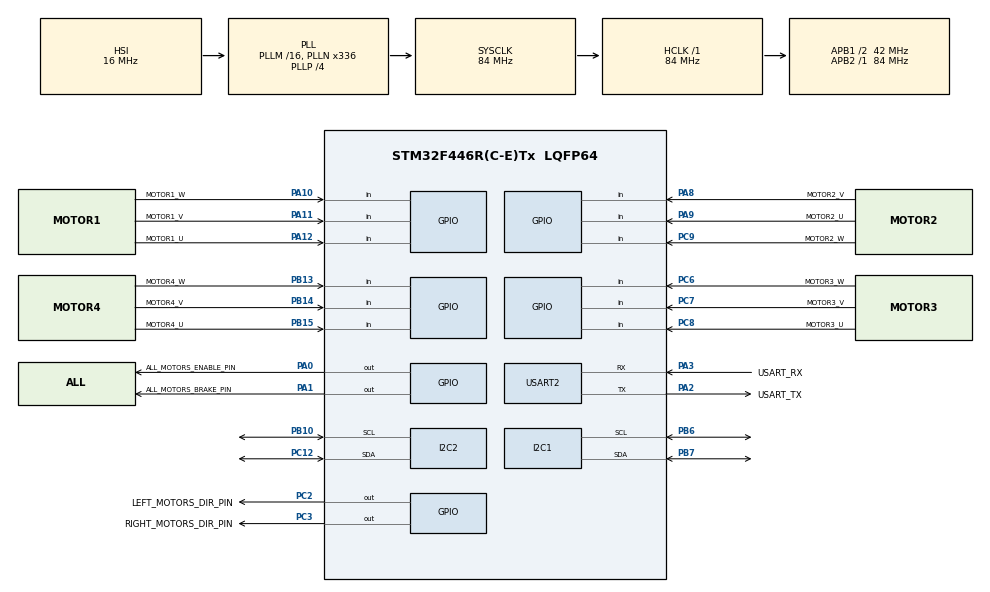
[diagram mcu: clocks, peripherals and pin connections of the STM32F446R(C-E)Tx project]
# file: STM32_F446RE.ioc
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I2C1.OwnAddress=0x12
Mcu.Family=STM32F4
Mcu.Name=STM32F446R(C-E)Tx
Mcu.Package=LQFP64
NVIC.I2C1_ER_IRQn=true\:0\:0\:false\:false\:true\:true\:true\:true
NVIC.I2C1_EV_IRQn=true\:0\:0\:false\:false\:true\:true\:true\:true
NVIC.PriorityGroup=NVIC_PRIORITYGROUP_3
NVIC.TIM3_IRQn=true\:1\:1\:true\:false\:true\:true\:true\:true
PA0-WKUP.GPIO_Label=ALL_MOTORS_ENABLE_PIN
PA0-WKUP.PinState=GPIO_PIN_SET
PA0-WKUP.Signal=GPIO_Output
PA1.GPIO_Label=ALL_MOTORS_BRAKE_PIN
PA1.PinState=GPIO_PIN_SET
PA1.Signal=GPIO_Output
PA10.GPIO_Label=MOTOR1_W
PA10.Signal=GPIO_Input
PA11.GPIO_Label=MOTOR1_V
PA11.Signal=GPIO_Input
PA12.GPIO_Label=MOTOR1_U
PA12.Signal=GPIO_Input
PA13.GPIO_Label=TMS
PA13.Mode=Serial_Wire
PA13.Signal=SYS_JTMS-SWDIO
PA14.GPIO_Label=TCK
PA14.Mode=Serial_Wire
PA14.Signal=SYS_JTCK-SWCLK
PA2.GPIO_Label=USART_TX
PA2.Mode=Asynchronous
PA2.Signal=USART2_TX
PA3.GPIO_Label=USART_RX
PA3.Mode=Asynchronous
PA3.Signal=USART2_RX
PA8.GPIO_Label=MOTOR2_V
PA8.Signal=GPIO_Input
PA9.GPIO_Label=MOTOR2_U
PA9.Signal=GPIO_Input
PB10.GPIO_Pu=GPIO_PULLUP
PB10.Mode=I2C
PB10.Signal=I2C2_SCL
PB13.GPIO_Label=MOTOR4_W
PB13.Signal=GPIO_Input
PB14.GPIO_Label=MOTOR4_V
PB14.Signal=GPIO_Input
PB15.GPIO_Label=MOTOR4_U
PB15.Signal=GPIO_Input
PB3.GPIO_Label=SWO
PB3.Signal=SYS_JTDO-SWO
PB6.GPIO_Pu=GPIO_PULLUP
PB6.Mode=I2C
PB6.Signal=I2C1_SCL
PB7.GPIO_Pu=GPIO_PULLUP
PB7.Mode=I2C
PB7.Signal=I2C1_SDA
PC12.GPIO_Pu=GPIO_PULLUP
PC12.Mode=I2C
PC12.Signal=I2C2_SDA
PC14-OSC32_IN.Mode=LSE-External-Oscillator
PC14-OSC32_IN.Signal=RCC_OSC32_IN
PC15-OSC32_OUT.Mode=LSE-External-Oscillator
PC15-OSC32_OUT.Signal=RCC_OSC32_OUT
PC2.GPIO_Label=LEFT_MOTORS_DIR_PIN
PC2.Signal=GPIO_Output
PC3.GPIO_Label=RIGHT_MOTORS_DIR_PIN
PC3.Signal=GPIO_Output
PC6.GPIO_Label=MOTOR3_W
PC6.Signal=GPIO_Input
PC7.GPIO_Label=MOTOR3_V
PC7.Signal=GPIO_Input
PC8.GPIO_Label=MOTOR3_U
PC8.Signal=GPIO_Input
PC9.GPIO_Label=MOTOR2_W
PC9.Signal=GPIO_Input
PH0-OSC_IN.Mode=HSE-External-Oscillator
PH0-OSC_IN.Signal=RCC_OSC_IN
PH1-OSC_OUT.Mode=HSE-External-Oscillator
PH1-OSC_OUT.Signal=RCC_OSC_OUT
ProjectManager.HeapSize=0x200
ProjectManager.StackSize=0x400
ProjectManager.TargetToolchain=STM32CubeIDE
RCC.48MHZClocksFreq_Value=84000000
RCC.AHBFreq_Value=84000000
RCC.APB1CLKDivider=RCC_HCLK_DIV2
RCC.APB1Freq_Value=42000000
RCC.APB1TimFreq_Value=84000000
RCC.APB2Freq_Value=84000000
RCC.APB2TimFreq_Value=84000000
RCC.CortexFreq_Value=84000000
RCC.FLatency-AdvancedSettings=FLASH_LATENCY_2
RCC.HCLKFreq_Value=84000000
RCC.HSE_VALUE=8000000
RCC.HSI_VALUE=16000000
RCC.PLLN=336
RCC.PLLP=RCC_PLLP_DIV4
RCC.SYSCLKFreq_VALUE=84000000
RCC.SYSCLKSource=RCC_SYSCLKSOURCE_PLLCLK
RCC.USBFreq_Value=168000000
RCC.VCOOutputFreq_Value=336000000
TIM3.Prescaler=0
USART2.VirtualMode=VM_ASYNC
VP_TIM1_VS_ClockSourceINT.Mode=Internal
VP_TIM3_VS_ClockSourceINT.Mode=Internal
board=NUCLEO-F446RE

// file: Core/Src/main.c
/* USER CODE BEGIN Header */
/**
 ******************************************************************************
 * @file           : main.c
 * @brief          : Main program body
 ******************************************************************************
 * @attention
 *
 * Copyright (c) 2024 STMicroelectronics.
 * All rights reserved.
 *
 * This software is licensed under terms that can be found in the LICENSE file
 * in the root directory of this software component.
 * If no LICENSE file comes with this software, it is provided AS-IS.
 *
 ******************************************************************************
 */
/* USER CODE END Header */
#include "main.h"

/* USER CODE BEGIN Includes */
#include "Motor.h"
#include "I2C_Controller.h"
#include <string.h>
#include "Motor_Controller.h"
/* USER CODE END Includes */

I2C_HandleTypeDef hi2c1;
I2C_HandleTypeDef hi2c2;

TIM_HandleTypeDef htim1;
TIM_HandleTypeDef htim3;

UART_HandleTypeDef huart2;

/* USER CODE BEGIN PV */
Motor_Handle motor_handle = { 0 };
I2C_Handle i2c_handle = { 0 };
GPIO_Pin left_direction_pin = { 0 };
GPIO_Pin right_direction_pin = { 0 };
GPIO_Pin motor_brake_pin = { 0 };
GPIO_Pin motor_enable_pin = { 0 };
I2C_Motor_Command command_handle = { .data = { 0 }, .current_command = NO_COMMAND, .next_command = NO_COMMAND };

PID_Parameters f_left_motor_pos_pid_params  = { .kd = 0.0, .ki = 0.6, .kp = 1.75, .min = 0, .max = 60, .dac_default =  682};
PID_Parameters f_right_motor_pos_pid_params = { .kd = 0.0, .ki = 0.6, .kp = 1.75, .min = 0, .max = 60, .dac_default =  674};
PID_Parameters b_left_motor_pos_pid_params  = { .kd = 0.0, .ki = 0.6, .kp = 1.75, .min = 0, .max = 60, .dac_default =  679};
PID_Parameters b_right_motor_pos_pid_params = { .kd = 0.0, .ki = 0.6, .kp = 1.75, .min = 0, .max = 60, .dac_default =  682};

PID_Parameters pid_parameters_velocity = { .kd = 0.001, .ki = 2, .kp = 0.2, .min = 0, .max = 60, .dac_default =  682};

volatile bool motor_ready = false;

/* USER CODE END PV */

void SystemClock_Config(void);
static void MX_GPIO_Init(void);
static void MX_USART2_UART_Init(void);
static void MX_TIM1_Init(void);
static void MX_I2C1_Init(void);
static void MX_TIM3_Init(void);
static void MX_I2C2_Init(void);

/* USER CODE BEGIN 0 */

void HAL_I2C_ListenCpltCallback(I2C_HandleTypeDef *hi2c)
{
	I2C_ListenCpltCallback(&i2c_handle, hi2c);
}
void HAL_I2C_ErrorCallback(I2C_HandleTypeDef *hi2c)
{
	I2C_ErrorCallback(&i2c_handle, hi2c);
}
void HAL_I2C_AddrCallback(I2C_HandleTypeDef *hi2c, uint8_t TransferDirection,
		uint16_t AddrMatchCode)
{
	I2C_AddrCallback(&i2c_handle, hi2c, TransferDirection, AddrMatchCode);
}
void HAL_I2C_SlaveRxCpltCallback(I2C_HandleTypeDef *hi2c)
{
	I2C_SlaveRxCpltCallback(&motor_handle, &i2c_handle, &command_handle, hi2c);
}
void HAL_I2C_SlaveTxCpltCallback(I2C_HandleTypeDef *hi2c)
{
	I2C_SlaveTxCpltCallback(&i2c_handle, hi2c);
}

void HAL_TIM_PeriodElapsedCallback(TIM_HandleTypeDef *htim)
{
	if(motor_ready)
	{
        Update_Motor_Period_Elapsed(&motor_handle.motors[0], htim);
        Update_Motor_Period_Elapsed(&motor_handle.motors[1], htim);
        Update_Motor_Period_Elapsed(&motor_handle.motors[2], htim);
        Update_Motor_Period_Elapsed(&motor_handle.motors[3], htim);
	}
}

void Get_Command_Data(uint8_t *data, const uint8_t buffer_size)
{
	if(sizeof(int8_t) * 2 + sizeof(int32_t) * 2 > buffer_size)
		Error_Handler();
	const int32_t current_command = command_handle.current_command;
	const int32_t next_command = command_handle.next_command;

	data[0] = MOTOR_CURRENT_STATE;
	memcpy(&data[1], &current_command, sizeof(int32_t));
	data[5] = MOTOR_NEXT_STATE;
	memcpy(&data[6], &next_command, sizeof(int32_t));
}

void Get_Motor_State(I2C_Read_Message *read_message)
{
	uint8_t offset = 0;
	for(uint8_t i = 0; i < NUM_MOTORS ; i++)
		offset += Get_Motor_Data(&motor_handle.motors[i],
				read_message->message + offset, I2C_MESSAGE_DATA_SIZE - offset,
				i);

	Get_Command_Data(read_message->message + offset,
			I2C_MESSAGE_DATA_SIZE - offset);
	read_message->crc = I2C_Compute_CRC(read_message->message,
			I2C_MESSAGE_DATA_SIZE);
}

void Update_I2C_Read_State()
{
	I2C_Read_Message next_message =
	{ 0 };
	Get_Motor_State(&next_message);

	while(i2c_handle.next_read_message.in_use == true)
	{
	}

	i2c_handle.next_read_message.in_use = true;
	memcpy(i2c_handle.next_read_message.message, next_message.message,
	I2C_MESSAGE_SIZE);
	i2c_handle.next_read_message.updated = true;
	i2c_handle.next_read_message.in_use = false;
}

void Update_Motors(Motor_Handle *handle, I2C_Motor_Command *motor_command)
{
	switch(motor_command->current_command)
	{
	case FORWARD_POSITION_COMMAND:
		Run_Forward_Position_Command(handle, motor_command);
		break;
	case BACKWARDS_POSITION_COMMAND:
		Run_Backward_Position_Command(handle, motor_command);
		break;
	case LEFT_TURN_COMMAND:
		// haven't implemented
		break;
	case RIGHT_TURN_COMMAND:
		// haven't implemented
		break;
	case STOP_COMMAND:
		Run_Stop_Command(handle, motor_command);
		break;
	default:
		break;

	};
}

void Update_Next_Motor_Command(I2C_Motor_Command *motor_command)
{
	const float target = *(float*)motor_command->data;

	switch(motor_command->next_command)
	{
	case FORWARD_POSITION_COMMAND:
	case BACKWARDS_POSITION_COMMAND:
		Set_Motor_Command(&motor_handle.front_left_motor, &motor_handle.front_right_motor, false, target);
		Set_Motor_Command(&motor_handle.front_right_motor, &motor_handle.front_left_motor, true, target);
		Set_Motor_Command(&motor_handle.back_left_motor, &motor_handle.back_right_motor, false, target);
		Set_Motor_Command(&motor_handle.back_right_motor, &motor_handle.back_left_motor, true, target);
		break;
	case LEFT_TURN_COMMAND:
	case RIGHT_TURN_COMMAND:    // fix me
		Set_Motor_Command(&motor_handle.front_left_motor, &motor_handle.back_left_motor, false, target);
		Set_Motor_Command(&motor_handle.back_left_motor, &motor_handle.front_left_motor, true, target);
		Set_Motor_Command(&motor_handle.front_right_motor, &motor_handle.back_right_motor, false, target);
		Set_Motor_Command(&motor_handle.back_right_motor, &motor_handle.front_right_motor, true, target);
		break;
	case STOP_COMMAND:
		break;
	default:
		break;
	}
	motor_command->current_command = motor_command->next_command;
	motor_command->next_command = NO_COMMAND;
}

/// @brief 1 == front_pos_sync, 2 == back_pos_sync, 3 == left_pos_sync, 4 == right_pos_sync, 5 sync_all_pos, 6 == front_velo_sync, 7 = back_velo_sync, 8 == left_velo_sync, 9 == right_velo_sync, 10 == sync_all_velo
/// @param command To run
/// @param motor_command Pointer to I2c_Motor_Command structure
void Run_Motor_Command_Calibrate(const int32_t command, I2C_Motor_Command *motor_command)
{
	switch(command)
	{
	case 1:
		Run_Front_Position_Sync(&motor_handle, motor_command);
		break;
	case 2:
		Run_Back_Position_Sync(&motor_handle, motor_command);
		break;
	case 3:
		Run_Left_Position_Sync(&motor_handle, motor_command);
		break;
	case 4:
		Run_Right_Position_Sync(&motor_handle, motor_command);
		break;
	case 5:
		Run_Sync_All_Position(&motor_handle, motor_command);
		break;
	case 6:
		Run_Front_Velocity_Sync(&motor_handle, motor_command);
		break;
	case 7:
		Run_Back_Velocity_Sync(&motor_handle, motor_command);
		break;
	case 8:
		Run_Left_Velocity_Sync(&motor_handle, motor_command);
		break;
	case 9:
		Run_Right_Velocity_Sync(&motor_handle, motor_command);
		break;
	case 10:
		Run_Sync_All_Velocity(&motor_handle, motor_command);
		break;
	default:
		break;
	}
}

#define CALIBRATE_MODE 1

void Init_Motor_Controller()
{
    GPIO_Output_Init(&left_direction_pin, LEFT_MOTORS_DIR_PIN_GPIO_Port, LEFT_MOTORS_DIR_PIN_Pin, GPIO_PIN_RESET);
	GPIO_Output_Init(&right_direction_pin, RIGHT_MOTORS_DIR_PIN_GPIO_Port, RIGHT_MOTORS_DIR_PIN_Pin, GPIO_PIN_RESET);
	GPIO_Output_Init(&motor_brake_pin, ALL_MOTORS_BRAKE_PIN_GPIO_Port, ALL_MOTORS_BRAKE_PIN_Pin, GPIO_PIN_SET);
	GPIO_Output_Init(&motor_enable_pin, ALL_MOTORS_ENABLE_PIN_GPIO_Port, ALL_MOTORS_ENABLE_PIN_Pin, GPIO_PIN_RESET);

    Init_Motor_Pins(&motor_handle.front_left_motor, 0, 0, MOTOR1_U_GPIO_Port, MOTOR1_U_Pin,
					MOTOR1_V_GPIO_Port, MOTOR1_V_Pin, MOTOR1_W_GPIO_Port, MOTOR1_W_Pin,
					&left_direction_pin, &motor_brake_pin, &motor_enable_pin);

	Init_Motor_Pins(&motor_handle.front_right_motor, 1, 0, MOTOR2_U_GPIO_Port, MOTOR2_U_Pin,
					MOTOR2_V_GPIO_Port, MOTOR2_V_Pin, MOTOR2_W_GPIO_Port, MOTOR2_W_Pin,
					&left_direction_pin, &motor_brake_pin, &motor_enable_pin);

	Init_Motor_Pins(&motor_handle.back_left_motor, 2, 0, MOTOR3_U_GPIO_Port, MOTOR3_U_Pin,
					MOTOR3_V_GPIO_Port, MOTOR3_V_Pin, MOTOR3_W_GPIO_Port, MOTOR3_W_Pin,
					&left_direction_pin, &motor_brake_pin, &motor_enable_pin);

	Init_Motor_Pins(&motor_handle.back_right_motor, 3, 0, MOTOR4_U_GPIO_Port, MOTOR4_U_Pin,
					MOTOR4_V_GPIO_Port, MOTOR4_V_Pin, MOTOR4_W_GPIO_Port, MOTOR4_W_Pin,
					&left_direction_pin, &motor_brake_pin, &motor_enable_pin);

    Init_Motor_Pid_Position(&motor_handle.front_left_motor, &f_left_motor_pos_pid_params);
	Init_Motor_Pid_Position(&motor_handle.front_right_motor, &f_right_motor_pos_pid_params);
	Init_Motor_Pid_Position(&motor_handle.back_left_motor, &b_left_motor_pos_pid_params);
	Init_Motor_Pid_Position(&motor_handle.back_right_motor, &b_right_motor_pos_pid_params);

	Init_Motor_Pid_Velocity(&motor_handle.front_left_motor, &pid_parameters_velocity);
	Init_Motor_Pid_Velocity(&motor_handle.front_right_motor, &pid_parameters_velocity);
	Init_Motor_Pid_Velocity(&motor_handle.back_left_motor, &pid_parameters_velocity);
	Init_Motor_Pid_Velocity(&motor_handle.back_right_motor, &pid_parameters_velocity);

    Set_I2C_Handle(&motor_handle, &hi2c2);
}
/* USER CODE END 0 */

int main(void)
{

  /* MCU Configuration--------------------------------------------------------*/

  /* Reset of all peripherals, Initializes the Flash interface and the Systick. */
  HAL_Init();

  /* Configure the system clock */
  SystemClock_Config();

  /* Initialize all configured peripherals */
  MX_GPIO_Init();
  MX_USART2_UART_Init();
  MX_TIM1_Init();
  MX_I2C1_Init();
  MX_TIM3_Init();
  MX_I2C2_Init();
  /* USER CODE BEGIN 2 */

  Init_Motor_Timer();
  Init_Motor_Controller();
  Run_Stop_Command(&motor_handle, &command_handle);

  if(HAL_TIM_Base_Start_IT(&htim3) != HAL_OK)
	  Error_Handler();

    motor_ready = true;

    Init_I2C_Handle(&i2c_handle, &hi2c1);

  /* USER CODE END 2 */

  /* Infinite loop */
  /* USER CODE BEGIN WHILE */

	while(1)
	{

		int32_t motor_command = 0;
        Run_Motor_Command_Calibrate(motor_command, &command_handle);
    /* USER CODE END WHILE */

	}
}

void SystemClock_Config(void)
{
  RCC_OscInitTypeDef RCC_OscInitStruct = {0};
  RCC_ClkInitTypeDef RCC_ClkInitStruct = {0};

  /** Configure the main internal regulator output voltage
  */
  __HAL_RCC_PWR_CLK_ENABLE();
  __HAL_PWR_VOLTAGESCALING_CONFIG(PWR_REGULATOR_VOLTAGE_SCALE3);

  /** Initializes the RCC Oscillators according to the specified parameters
  * in the RCC_OscInitTypeDef structure.
  */
  RCC_OscInitStruct.OscillatorType = RCC_OSCILLATORTYPE_HSI;
  RCC_OscInitStruct.HSIState = RCC_HSI_ON;
  RCC_OscInitStruct.HSICalibrationValue = RCC_HSICALIBRATION_DEFAULT;
  RCC_OscInitStruct.PLL.PLLState = RCC_PLL_ON;
  RCC_OscInitStruct.PLL.PLLSource = RCC_PLLSOURCE_HSI;
  RCC_OscInitStruct.PLL.PLLM = 16;
  RCC_OscInitStruct.PLL.PLLN = 336;
  RCC_OscInitStruct.PLL.PLLP = RCC_PLLP_DIV4;
  RCC_OscInitStruct.PLL.PLLQ = 2;
  RCC_OscInitStruct.PLL.PLLR = 2;
  if (HAL_RCC_OscConfig(&RCC_OscInitStruct) != HAL_OK)
  {
    Error_Handler();
  }

  /** Initializes the CPU, AHB and APB buses clocks
  */
  RCC_ClkInitStruct.ClockType = RCC_CLOCKTYPE_HCLK|RCC_CLOCKTYPE_SYSCLK
                              |RCC_CLOCKTYPE_PCLK1|RCC_CLOCKTYPE_PCLK2;
  RCC_ClkInitStruct.SYSCLKSource = RCC_SYSCLKSOURCE_PLLCLK;
  RCC_ClkInitStruct.AHBCLKDivider = RCC_SYSCLK_DIV1;
  RCC_ClkInitStruct.APB1CLKDivider = RCC_HCLK_DIV2;
  RCC_ClkInitStruct.APB2CLKDivider = RCC_HCLK_DIV1;

  if (HAL_RCC_ClockConfig(&RCC_ClkInitStruct, FLASH_LATENCY_2) != HAL_OK)
  {
    Error_Handler();
  }
}

static void MX_I2C1_Init(void)
{

  hi2c1.Instance = I2C1;
  hi2c1.Init.ClockSpeed = 100000;
  hi2c1.Init.DutyCycle = I2C_DUTYCYCLE_2;
  hi2c1.Init.OwnAddress1 = 36;
  hi2c1.Init.AddressingMode = I2C_ADDRESSINGMODE_7BIT;
  hi2c1.Init.DualAddressMode = I2C_DUALADDRESS_DISABLE;
  hi2c1.Init.OwnAddress2 = 0;
  hi2c1.Init.GeneralCallMode = I2C_GENERALCALL_DISABLE;
  hi2c1.Init.NoStretchMode = I2C_NOSTRETCH_DISABLE;
  if (HAL_I2C_Init(&hi2c1) != HAL_OK)
  {
    Error_Handler();
  }

}

static void MX_I2C2_Init(void)
{

  hi2c2.Instance = I2C2;
  hi2c2.Init.ClockSpeed = 100000;
  hi2c2.Init.DutyCycle = I2C_DUTYCYCLE_2;
  hi2c2.Init.OwnAddress1 = 0;
  hi2c2.Init.AddressingMode = I2C_ADDRESSINGMODE_7BIT;
  hi2c2.Init.DualAddressMode = I2C_DUALADDRESS_DISABLE;
  hi2c2.Init.OwnAddress2 = 0;
  hi2c2.Init.GeneralCallMode = I2C_GENERALCALL_DISABLE;
  hi2c2.Init.NoStretchMode = I2C_NOSTRETCH_DISABLE;
  if (HAL_I2C_Init(&hi2c2) != HAL_OK)
  {
    Error_Handler();
  }

}

static void MX_TIM1_Init(void)
{

  TIM_ClockConfigTypeDef sClockSourceConfig = {0};
  TIM_MasterConfigTypeDef sMasterConfig = {0};

  htim1.Instance = TIM1;
  htim1.Init.Prescaler = 0;
  htim1.Init.CounterMode = TIM_COUNTERMODE_UP;
  htim1.Init.Period = 65535;
  htim1.Init.ClockDivision = TIM_CLOCKDIVISION_DIV1;
  htim1.Init.RepetitionCounter = 0;
  htim1.Init.AutoReloadPreload = TIM_AUTORELOAD_PRELOAD_DISABLE;
  if (HAL_TIM_Base_Init(&htim1) != HAL_OK)
  {
    Error_Handler();
  }
  sClockSourceConfig.ClockSource = TIM_CLOCKSOURCE_INTERNAL;
  if (HAL_TIM_ConfigClockSource(&htim1, &sClockSourceConfig) != HAL_OK)
  {
    Error_Handler();
  }
  sMasterConfig.MasterOutputTrigger = TIM_TRGO_RESET;
  sMasterConfig.MasterSlaveMode = TIM_MASTERSLAVEMODE_DISABLE;
  if (HAL_TIMEx_MasterConfigSynchronization(&htim1, &sMasterConfig) != HAL_OK)
  {
    Error_Handler();
  }

}

static void MX_TIM3_Init(void)
{

  TIM_ClockConfigTypeDef sClockSourceConfig = {0};
  TIM_MasterConfigTypeDef sMasterConfig = {0};

  htim3.Instance = TIM3;
  htim3.Init.Prescaler = 0;
  htim3.Init.CounterMode = TIM_COUNTERMODE_UP;
  htim3.Init.Period = 65535;
  htim3.Init.ClockDivision = TIM_CLOCKDIVISION_DIV1;
  htim3.Init.AutoReloadPreload = TIM_AUTORELOAD_PRELOAD_DISABLE;
  if (HAL_TIM_Base_Init(&htim3) != HAL_OK)
  {
    Error_Handler();
  }
  sClockSourceConfig.ClockSource = TIM_CLOCKSOURCE_INTERNAL;
  if (HAL_TIM_ConfigClockSource(&htim3, &sClockSourceConfig) != HAL_OK)
  {
    Error_Handler();
  }
  sMasterConfig.MasterOutputTrigger = TIM_TRGO_RESET;
  sMasterConfig.MasterSlaveMode = TIM_MASTERSLAVEMODE_DISABLE;
  if (HAL_TIMEx_MasterConfigSynchronization(&htim3, &sMasterConfig) != HAL_OK)
  {
    Error_Handler();
  }

}

static void MX_USART2_UART_Init(void)
{

  huart2.Instance = USART2;
  huart2.Init.BaudRate = 115200;
  huart2.Init.WordLength = UART_WORDLENGTH_8B;
  huart2.Init.StopBits = UART_STOPBITS_1;
  huart2.Init.Parity = UART_PARITY_NONE;
  huart2.Init.Mode = UART_MODE_TX_RX;
  huart2.Init.HwFlowCtl = UART_HWCONTROL_NONE;
  huart2.Init.OverSampling = UART_OVERSAMPLING_16;
  if (HAL_UART_Init(&huart2) != HAL_OK)
  {
    Error_Handler();
  }

}

static void MX_GPIO_Init(void)
{
  GPIO_InitTypeDef GPIO_InitStruct = {0};

  /* GPIO Ports Clock Enable */
  __HAL_RCC_GPIOC_CLK_ENABLE();
  __HAL_RCC_GPIOH_CLK_ENABLE();
  __HAL_RCC_GPIOA_CLK_ENABLE();
  __HAL_RCC_GPIOB_CLK_ENABLE();

  /*Configure GPIO pin Output Level */
  HAL_GPIO_WritePin(GPIOC, LEFT_MOTORS_DIR_PIN_Pin|RIGHT_MOTORS_DIR_PIN_Pin, GPIO_PIN_RESET);

  /*Configure GPIO pin Output Level */
  HAL_GPIO_WritePin(GPIOA, ALL_MOTORS_ENABLE_PIN_Pin|ALL_MOTORS_BRAKE_PIN_Pin, GPIO_PIN_SET);

  /*Configure GPIO pins : LEFT_MOTORS_DIR_PIN_Pin RIGHT_MOTORS_DIR_PIN_Pin */
  GPIO_InitStruct.Pin = LEFT_MOTORS_DIR_PIN_Pin|RIGHT_MOTORS_DIR_PIN_Pin;
  GPIO_InitStruct.Mode = GPIO_MODE_OUTPUT_PP;
  GPIO_InitStruct.Pull = GPIO_NOPULL;
  GPIO_InitStruct.Speed = GPIO_SPEED_FREQ_LOW;
  HAL_GPIO_Init(GPIOC, &GPIO_InitStruct);

  /*Configure GPIO pins : ALL_MOTORS_ENABLE_PIN_Pin ALL_MOTORS_BRAKE_PIN_Pin */
  GPIO_InitStruct.Pin = ALL_MOTORS_ENABLE_PIN_Pin|ALL_MOTORS_BRAKE_PIN_Pin;
  GPIO_InitStruct.Mode = GPIO_MODE_OUTPUT_PP;
  GPIO_InitStruct.Pull = GPIO_NOPULL;
  GPIO_InitStruct.Speed = GPIO_SPEED_FREQ_LOW;
  HAL_GPIO_Init(GPIOA, &GPIO_InitStruct);

  /*Configure GPIO pins : MOTOR4_W_Pin MOTOR4_V_Pin MOTOR4_U_Pin */
  GPIO_InitStruct.Pin = MOTOR4_W_Pin|MOTOR4_V_Pin|MOTOR4_U_Pin;
  GPIO_InitStruct.Mode = GPIO_MODE_INPUT;
  GPIO_InitStruct.Pull = GPIO_NOPULL;
  HAL_GPIO_Init(GPIOB, &GPIO_InitStruct);

  /*Configure GPIO pins : MOTOR3_W_Pin MOTOR3_V_Pin MOTOR3_U_Pin MOTOR2_W_Pin */
  GPIO_InitStruct.Pin = MOTOR3_W_Pin|MOTOR3_V_Pin|MOTOR3_U_Pin|MOTOR2_W_Pin;
  GPIO_InitStruct.Mode = GPIO_MODE_INPUT;
  GPIO_InitStruct.Pull = GPIO_NOPULL;
  HAL_GPIO_Init(GPIOC, &GPIO_InitStruct);

  /*Configure GPIO pins : MOTOR2_V_Pin MOTOR2_U_Pin MOTOR1_W_Pin MOTOR1_V_Pin
                           MOTOR1_U_Pin */
  GPIO_InitStruct.Pin = MOTOR2_V_Pin|MOTOR2_U_Pin|MOTOR1_W_Pin|MOTOR1_V_Pin
                          |MOTOR1_U_Pin;
  GPIO_InitStruct.Mode = GPIO_MODE_INPUT;
  GPIO_InitStruct.Pull = GPIO_NOPULL;
  HAL_GPIO_Init(GPIOA, &GPIO_InitStruct);

}

void Error_Handler(void)
{
  /* USER CODE BEGIN Error_Handler_Debug */
	/* User can add his own implementation to report the HAL error return state */
	Run_Stop_Command(&motor_handle, &command_handle);
	__disable_irq();
	while(1)
	{
	}
  /* USER CODE END Error_Handler_Debug */
}
